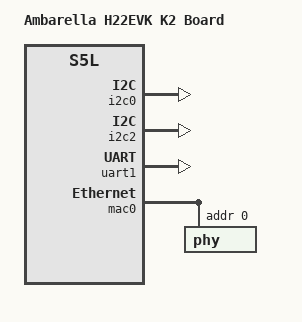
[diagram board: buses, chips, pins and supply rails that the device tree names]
/*
 * Copyright (C) 2013 Ambarella,Inc. - http://www.ambarella.com/
 * Author: Cao Rongrong <rrcao@ambarella.com>
 *
 * This program is free software; you can redistribute it and/or modify
 * it under the terms of the GNU General Public License version 2 as
 * published by the Free Software Foundation.
 */
/dts-v1/;

/include/ "ambarella-h22-ambalink.dtsi"

/ {
	model = "Ambarella H22EVK K2 Board";
	compatible = "ambarella,h22evk_k2", "ambarella,s5l";

	chosen {
	};

	apb@e8000000 {
		uart0: uart@e8005000 {
			status = "disabled";
			/* amb,tx-fifo-fix; */
		};

		i2c0: i2c@e8003000 {
			compatible = "threadx,i2c";
			status = "ok";
		};

		i2c1: i2c@e8001000 {
			status = "disabled";
		};

		i2c2: i2c@e8007000 {
			status = "okay";
		};

		rtc@e8015000 {
			status = "disabled";
		};

		pinctrl: pinctrl@e8009000 {
			gpio: gpio@0 {
				amb,banks_irq_mask = <0x1>; /* enable only group0 */
				amb,banks_irq_affinity = "2", "7", "7", "7", "7"; /* group 0 on cpu1 */
			};
		};
	};

	ahb@e0000000 {
		dma: dma@e0005000 {
			/* enable dma if you need uart dma. */
			status = "disabled";
			amb,dma-startchannel = <2>;
		};

		uart1: uart@e0032000 {
			status = "ok";
			amb,msr-used;   /* use Modem Status Register */
			/* amb,txdma-used; */
			/* amb,rxdma-used; */
			/* dmas = <&dma 8>, <&dma 9>; */
			/* dma-names = "tx", "rx"; */
		};

		uart2: uart@e0033000 {
			status = "disabled";
			amb,msr-used;	/* use Modem Status Register */
			/* amb,txdma-used; */
			/* amb,rxdma-used; */
			/* dmas = <&dma 12>, <&dma 13>; */
			/* dma-names = "tx", "rx"; */
		};

		sdmmc0@e0002000 {
			status = "disabled";
			pwr-gpios = <&gpio 111 0x1>;
			v18-gpios = <&gpio 0 0x1>;
			amb,detail-delay = <0x6001>; /* ThreadX default value
			                             * A new delay must be determined with sd_shmoo */
		};

		sdmmc2@e001f000 {
			/* pwr-gpios = <&gpio 112 0x1>; */
			/* v18-gpios = <&gpio 7 0x1>; */
			amb,rct-regmap = <&rct_syscon>;
			keep-power-in-suspend;
			no-1-8-v;
			max-frequency = <50000000>;
		};

		mac0: ethernet@e000e000 {
			phy@0 {
				reg = <0>;
				amb,clk_invert;

			};
		};

		spi0: spi@e0020000 {
			status = "disabled";
			cs-gpios = <&gpio 38 0>;

			ambvin0@0 {
				compatible = "ambarella,ambvin";
				reg = <0>;
				spi-max-frequency = <1000000>;
				spi-cpha;
				spi-cpol;
			};
		};
	};

	rct@ec170000 {
		usbphy: usbphy@ec170050 {
			/* high will trigger the ocp interrupt */
			amb,ocp-polarity = <0>;
			pinctrl-names = "default";
			pinctrl-0 = <&usb_host0_pins>;
		};
	};
};

